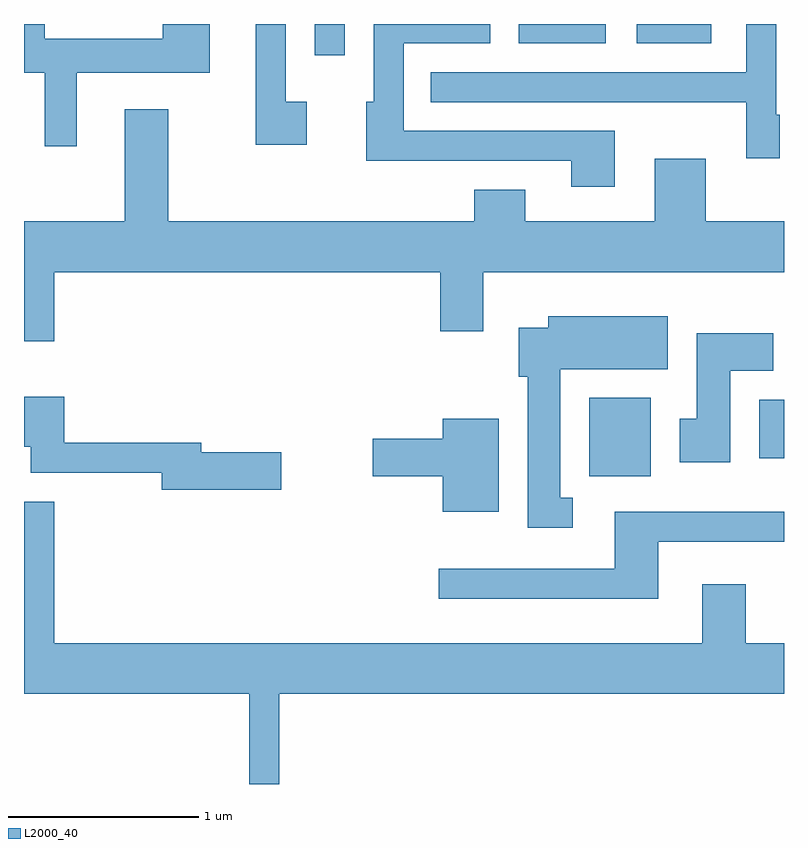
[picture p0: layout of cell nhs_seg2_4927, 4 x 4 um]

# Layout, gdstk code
import gdstk
lib = gdstk.Library(unit=1e-6, precision=1e-09)
def R(c, l, rs):  # rectangles x0, y0, x1, y1
    for r in rs: c.add(gdstk.rectangle(r[:2], r[2:], *l))
def P(c, l, *ps):  # polygons
    for p in ps: c.add(gdstk.Polygon(p, *l))
L2000_40 = (2000, 40)

nhs_seg2_4927 = lib.new_cell('nhs_seg2_4927')
R(nhs_seg2_4927, L2000_40, [(332.586,1089.421,332.909,1089.834), (333.481,1089.516,333.611,1089.824), (331.141,1091.638,331.299,1091.802), (332.216,1091.701,332.674,1091.802), (332.836,1091.701,333.229,1091.802)])
P(nhs_seg2_4927, L2000_40, [(333.589,1091.324),(333.569,1091.324),(333.569,1091.802),(333.411,1091.802),(333.411,1091.549),(331.753,1091.549),(331.753,1091.391),(333.411,1091.391),(333.411,1091.096),(333.589,1091.096)],
  [(331.099,1091.394),(330.989,1091.394),(330.989,1091.802),(330.831,1091.802),(330.831,1091.166),(331.099,1091.166)],
  [(329.889,1091.546),(330.589,1091.546),(330.589,1091.802),(330.341,1091.802),(330.341,1091.724),(329.719,1091.724),(329.719,1091.802),(329.611,1091.802),(329.611,1091.546),(329.721,1091.546),(329.721,1091.158),(329.889,1091.158)],
  [(332.719,1091.239),(331.609,1091.239),(331.609,1091.701),(332.064,1091.701),(332.064,1091.802),(331.451,1091.802),(331.451,1091.394),(331.411,1091.394),(331.411,1091.081),(332.491,1091.081),(332.491,1090.946),(332.719,1090.946)],
  [(329.769,1090.496),(331.801,1090.496),(331.801,1090.186),(332.029,1090.186),(332.029,1090.496),(333.611,1090.496),(333.611,1090.764),(333.199,1090.764),(333.199,1091.094),(332.931,1091.094),(332.931,1090.764),(332.249,1090.764),(332.249,1090.929),(331.981,1090.929),(331.981,1090.764),(330.369,1090.764),(330.369,1091.354),(330.141,1091.354),(330.141,1090.764),(329.611,1090.764),(329.611,1090.133),(329.769,1090.133)],
  [(332.498,1089.309),(332.434,1089.309),(332.434,1089.986),(332.999,1089.986),(332.999,1090.264),(332.371,1090.264),(332.371,1090.204),(332.216,1090.204),(332.216,1089.946),(332.261,1089.946),(332.261,1089.151),(332.498,1089.151)],
  [(333.329,1089.976),(333.554,1089.976),(333.554,1090.174),(333.151,1090.174),(333.151,1089.724),(333.061,1089.724),(333.061,1089.496),(333.329,1089.496)],
  [(330.964,1089.549),(330.544,1089.549),(330.544,1089.599),(329.824,1089.599),(329.824,1089.839),(329.611,1089.839),(329.611,1089.576),(329.646,1089.576),(329.646,1089.441),(330.336,1089.441),(330.336,1089.351),(330.964,1089.351)],
  [(332.109,1089.724),(331.816,1089.724),(331.816,1089.619),(331.446,1089.619),(331.446,1089.421),(331.816,1089.421),(331.816,1089.236),(332.109,1089.236)],
  [(330.954,1088.276),(333.611,1088.276),(333.611,1088.544),(333.409,1088.544),(333.409,1088.854),(333.181,1088.854),(333.181,1088.544),(329.769,1088.544),(329.769,1089.288),(329.611,1089.288),(329.611,1088.276),(330.796,1088.276),(330.796,1087.802),(330.954,1087.802)],
  [(332.949,1089.076),(333.611,1089.076),(333.611,1089.234),(332.721,1089.234),(332.721,1088.934),(331.793,1088.934),(331.793,1088.776),(332.949,1088.776)])

lib.write_gds('nhs_seg2_4927.gds')
